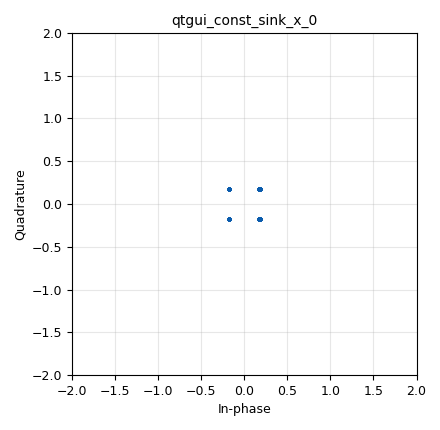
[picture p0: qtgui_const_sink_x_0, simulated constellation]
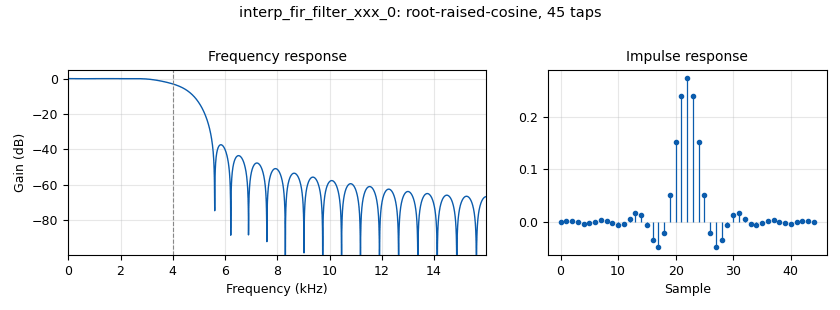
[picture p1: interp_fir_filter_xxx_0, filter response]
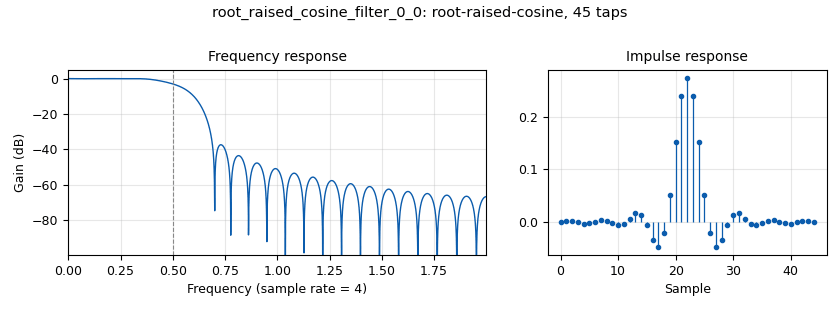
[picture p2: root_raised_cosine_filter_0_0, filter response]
options:
  parameters:
    generate_options: qt_gui
    id: untitled
    output_language: python
    title: Not titled yet
  states: {}

blocks:
- name: samp_rate
  id: variable
  parameters:
    value: '32000'
  states: {}
- name: sps
  id: variable
  parameters:
    value: '4'
  states: {}
- name: sym_rate
  id: variable
  parameters:
    value: samp_rate/sps
  states: {}
- name: analog_random_source_x_0
  id: analog_random_source_x
  parameters:
    max: '4'
    min: '0'
    num_samps: '10000'
    repeat: 'True'
    type: int
  states: {}
- name: blocks_complex_to_float_0
  id: blocks_complex_to_float
  parameters: {}
  states: {}
- name: blocks_complex_to_float_0_0
  id: blocks_complex_to_float
  parameters: {}
  states: {}
- name: blocks_delay_0
  id: blocks_delay
  parameters:
    delay: '1'
    type: float
  states: {}
- name: blocks_delay_0_0
  id: blocks_delay
  parameters:
    delay: '2'
    type: float
  states: {}
- name: blocks_float_to_complex_0
  id: blocks_float_to_complex
  parameters: {}
  states: {}
- name: blocks_float_to_complex_0_0
  id: blocks_float_to_complex
  parameters: {}
  states: {}
- name: blocks_throttle2_0
  id: blocks_throttle2
  parameters:
    samples_per_second: samp_rate
    type: complex
  states: {}
- name: digital_chunks_to_symbols_xx_0
  id: digital_chunks_to_symbols_xx
  parameters:
    dimension: '1'
    in_type: int
    out_type: complex
    symbol_table: '[(1+1j)/math.sqrt(2), (-1+1j)/math.sqrt(2), (-1-1j)/math.sqrt(2), (1-1j)/math.sqrt(2)]'
  states: {}
- name: digital_symbol_sync_xx_0
  id: digital_symbol_sync_xx
  parameters:
    damping: '1.0'
    loop_bw: '0.045'
    max_dev: '1.5'
    osps: '1'
    resamp_type: digital.IR_MMSE_8TAP
    sps: '4'
    ted_gain: '1.0'
    ted_type: digital.TED_GARDNER
    type: cc
  states: {}
- name: import_0
  id: import
  parameters:
    imports: import math
  states: {}
- name: import_1
  id: import
  parameters:
    imports: from gnuradio.filter import firdes
  states: {}
- name: interp_fir_filter_xxx_0
  id: interp_fir_filter_xxx
  parameters:
    interp: '2'
    taps: |
      firdes.root_raised_cosine(1.0, samp_rate, sym_rate, 0.35, 11*sps)
    type: ccc
  states: {}
- name: interp_fir_filter_xxx_0_0
  id: interp_fir_filter_xxx
  parameters:
    interp: '2'
    taps: '[1]'
    type: ccc
  states: {}
- name: qtgui_const_sink_x_0
  id: qtgui_const_sink_x
  parameters:
    size: '1024'
    type: complex
  states: {}
- name: root_raised_cosine_filter_0_0
  id: root_raised_cosine_filter
  parameters:
    alpha: '0.35'
    decim: '1'
    gain: '1'
    ntaps: 11*sps
    samp_rate: sps
    sym_rate: '1.0'
    type: fir_filter_ccf
  states: {}
- name: virtual_sink_0
  id: virtual_sink
  parameters: {}
  states: {}
- name: virtual_source_0
  id: virtual_source
  parameters: {}
  states: {}

connections:
- [analog_random_source_x_0, '0', digital_chunks_to_symbols_xx_0, '0']
- [blocks_complex_to_float_0, '0', blocks_float_to_complex_0, '0']
- [blocks_complex_to_float_0, '1', blocks_delay_0, '0']
- [blocks_complex_to_float_0_0, '0', blocks_float_to_complex_0_0, '0']
- [blocks_complex_to_float_0_0, '1', blocks_delay_0_0, '0']
- [blocks_delay_0, '0', blocks_float_to_complex_0, '1']
- [blocks_delay_0_0, '0', blocks_float_to_complex_0_0, '1']
- [blocks_float_to_complex_0, '0', interp_fir_filter_xxx_0, '0']
- [blocks_float_to_complex_0_0, '0', digital_symbol_sync_xx_0, '0']
- [blocks_throttle2_0, '0', virtual_sink_0, '0']
- [digital_chunks_to_symbols_xx_0, '0', interp_fir_filter_xxx_0_0, '0']
- [digital_symbol_sync_xx_0, '0', qtgui_const_sink_x_0, '0']
- [interp_fir_filter_xxx_0, '0', blocks_throttle2_0, '0']
- [interp_fir_filter_xxx_0_0, '0', blocks_complex_to_float_0, '0']
- [root_raised_cosine_filter_0_0, '0', blocks_complex_to_float_0_0, '0']
- [virtual_source_0, '0', root_raised_cosine_filter_0_0, '0']

metadata:
  file_format: 1
  grc_version: 3.10.12.0
